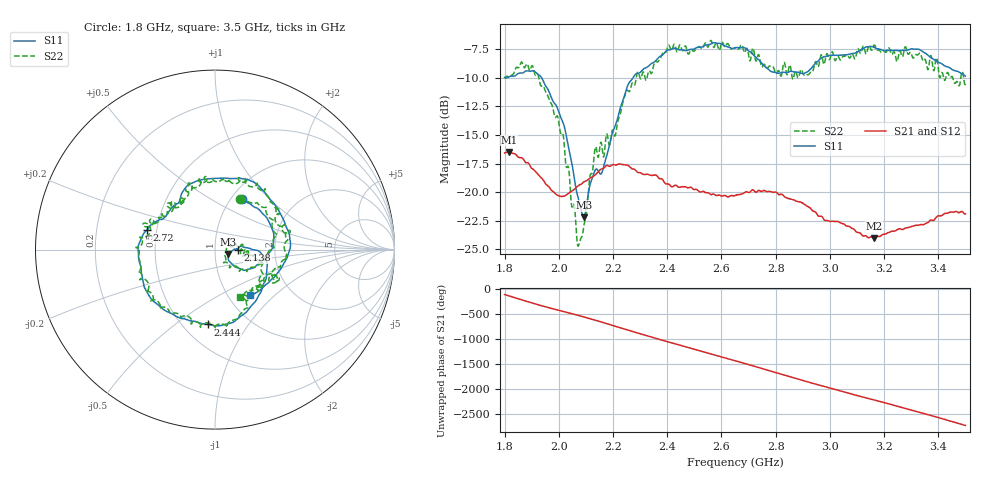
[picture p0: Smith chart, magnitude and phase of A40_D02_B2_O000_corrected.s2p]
! Created with skrf 1.9.0 (http://scikit-rf.org).
# Hz S RI R 50.0
!freq ReS11 ImS11 ReS21 ImS21 ReS12 ImS12 ReS22 ImS22
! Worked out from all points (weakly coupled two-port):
!   1601 points, 1.8 GHz to 3.5 GHz, reference 50 ohm
!   highest |S21| = -16.49 dB at 1.816 GHz (marker M1); lowest = -24.0 dB at 3.163 GHz (marker M2)
!   lowest |S11| = -22.2 dB at 2.092 GHz (marker M3), VSWR 1.17, Z = 57.9 - j2.84 ohm
!   |S11| at or under -10 dB: 1.802813 GHz to 1.810688 GHz (7.875 MHz wide, 0.436 % of centre); 1.936 GHz to 2.274 GHz (337.7 MHz wide, 16 % of centre)
!   |S22| runs from -24.7 to -6.7 dB; largest |S21 - S12| = 0.0025
!   S11 on the Smith chart (normalised r, x): 1.8 GHz: 1.12, +0.70; 2.138 GHz: 1.29, -0.01; 2.444 GHz: 0.66, -0.66; 2.72 GHz: 0.44, +0.11; 3.5 GHz: 1.26, -0.72
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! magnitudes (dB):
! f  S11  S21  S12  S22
! 1.8 GHz  -10.0  -16.6  -16.6  -10.1
! 1.816 GHz  -9.9  -16.5  -16.5  -10.0
! 1.901 GHz  -9.4  -17.9  -17.9  -8.9
! 1.966 GHz  -11.3  -19.6  -19.7  -12.0
! 2.02 GHz  -14.2  -20.3  -20.3  -15.8
! 2.07 GHz  -20.3  -19.5  -19.5  -24.7
! 2.084 GHz  -21.7  -19.3  -19.2  -23.9
! 2.092 GHz  -22.2  -19.1  -19.2  -23.0
! 2.138 GHz  -18.0  -18.4  -18.4  -16.1
! 2.162 GHz  -18.0  -17.9  -17.9  -16.6
! 2.21 GHz  -14.1  -17.6  -17.6  -14.9
! 2.259 GHz  -10.4  -17.7  -17.7  -11.2
! 2.367 GHz  -8.3  -18.7  -18.7  -8.6
! 2.444 GHz  -7.6  -19.6  -19.6  -7.2
! 2.65 GHz  -7.4  -20.3  -20.3  -7.4
! 2.72 GHz  -8.1  -19.9  -19.8  -7.7
! 2.805 GHz  -9.6  -20.1  -20.1  -9.5
! 2.934 GHz  -9.1  -21.6  -21.5  -9.5
! 3.163 GHz  -7.3  -24.0  -24.0  -7.1
! 3.217 GHz  -7.6  -23.5  -23.5  -7.4
! 3.328 GHz  -7.5  -22.9  -22.9  -7.9
! 3.5 GHz  -9.9  -21.9  -21.9  -10.5
